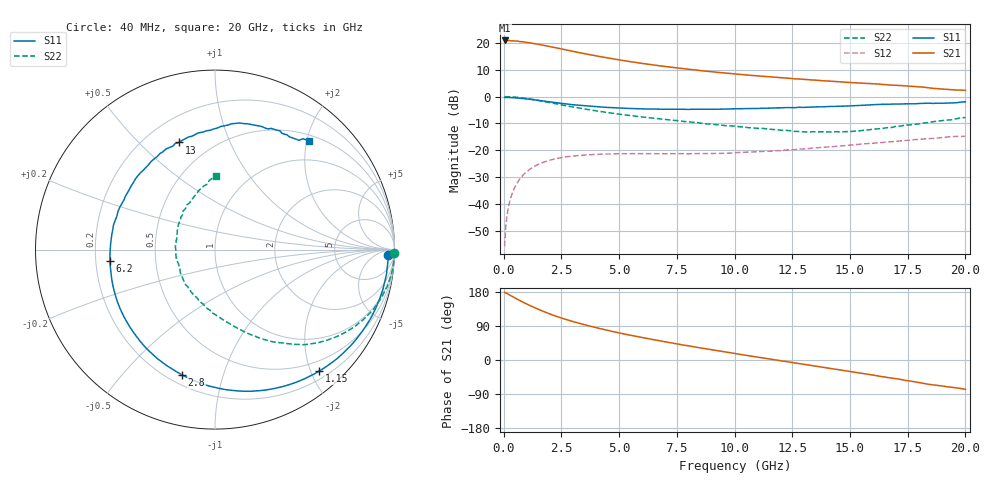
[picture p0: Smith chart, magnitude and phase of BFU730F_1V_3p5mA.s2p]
! Filename:  P:\Prog\Test\Noise\ATS_data\Testdata_Net\Split files Spar\BFU730_2W_B1_1V_1mA_30mA_Bias3_D.s2p
! Date/Time: Fri 29/Apr/2011 14:16:05
! BFU730_2W_B1_1V_1mA_30mA_Bias3_R.s2p
! MDIF S-parameter v. bias file
! BFU730_2W_B1_1V_1mA_30mA
! Date/time Thu Mar 17 14:34:31 2011
! VAR V_out= 1.0000
! VAR I_out= 3.4300
! VAR V_in= 0.7813
! VAR I_in= 0.0099
! Device data file deembeded for feedlines and parallel
! Original file: \Split files Spar\BFU730_2W_B1_1V_1mA_30mA_Bias3_R.s2p
! Feed-files: PR003V01_101208_Feed1.s2p, PR003V01_101208_Feed2.s2p
! Parallel-file: PR003V01_101208_Par.s2p
# MHz S MA R 50
!  Freq-MHz  S11-mag  S11-arg  S21-mag  S21-arg  S12-mag  S12-arg  S22-mag  S22-arg
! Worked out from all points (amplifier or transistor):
!   167 points, 40 MHz to 20 GHz, reference 50 ohm
!   highest |S21| = 21.0 dB at 50 MHz (marker M1)
!   |S21| within 3 dB of that: start of sweep to 2.391 GHz
!   unconditionally stable (mu >= 1): 7.831 GHz to 17.92 GHz; 18.58781 GHz to 18.62279 GHz
!   at 550 MHz: K = 0.05, MSG = 26.7 dB, |S12| = -32.8 dB
!   at 4.2 GHz: K = 0.50, MSG = 18.2 dB, |S12| = -21.5 dB
!   at 20 GHz: K = 0.86, MSG = 8.6 dB, |S12| = -14.8 dB
!   S11 on the Smith chart (normalised r, x): 40 MHz: 32, -29; 1.15 GHz: 0.32, -2.13; 2.8 GHz: 0.25, -0.74; 6.2 GHz: 0.26, -0.05; 13 GHz: 0.34, +0.67; 20 GHz: 0.61, +2.05
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40  0.9663 -1.8  11.16 178.9  0.001612 88.2  0.9986 -0.9
50  0.9683 -2.7  11.19 178.1  0.0022 76.7  0.9984 -1.2
60  0.963 -2.6  11.05 177.8  0.002282 87.0  0.9989 -1.4
220  0.9636 -9.8  11.12 172.6  0.009267 85.3  0.9959 -5.4
600  0.9427 -26.6  10.89 159.9  0.02505 74.8  0.9703 -14.7
850  0.9214 -37.2  10.52 152.1  0.03462 68.1  0.9442 -20.5
1150  0.8917 -49.5  10.08 143.3  0.04457 60.8  0.9013 -26.9
1450  0.8587 -61.1  9.587 135.1  0.05311 54.0  0.857 -32.8
1900  0.8091 -77.4  8.814 123.7  0.06318 45.4  0.7893 -40.4
2300  0.767 -90.3  8.084 114.8  0.07003 38.8  0.7313 -46.4
2800  0.7213 -104.9  7.276 105.0  0.07602 31.6  0.6626 -52.3
3400  0.68 -120.3  6.461 94.7  0.0805 24.8  0.5998 -58.6
4000  0.6484 -134.1  5.77 85.3  0.0834 19.3  0.5435 -64.1
4700  0.6228 -148.2  5.107 75.5  0.08527 14.1  0.4906 -69.8
6200  0.5884 -174.0  4.054 56.9  0.08607 6.1  0.4081 -80.9
6800  0.5823 177.1  3.744 50.2  0.08587 4.0  0.3824 -85.5
8600  0.5789 153.4  3.034 31.0  0.08628 0.2  0.316 -101.1
10200  0.5951 135.9  2.617 15.3  0.0905 -0.2  0.2739 -117.2
13000  0.6295 108.4  2.1 -11.2  0.1056 -3.3  0.2198 -156.3
13400  0.6387 105.2  2.042 -15.0  0.1099 -4.3  0.2207 -163.5
16800  0.7245 75.4  1.639 -47.5  0.1437 -16.0  0.2652 132.6
20000  0.8003 49.0  1.311 -77.5  0.182 -34.7  0.408 89.5
